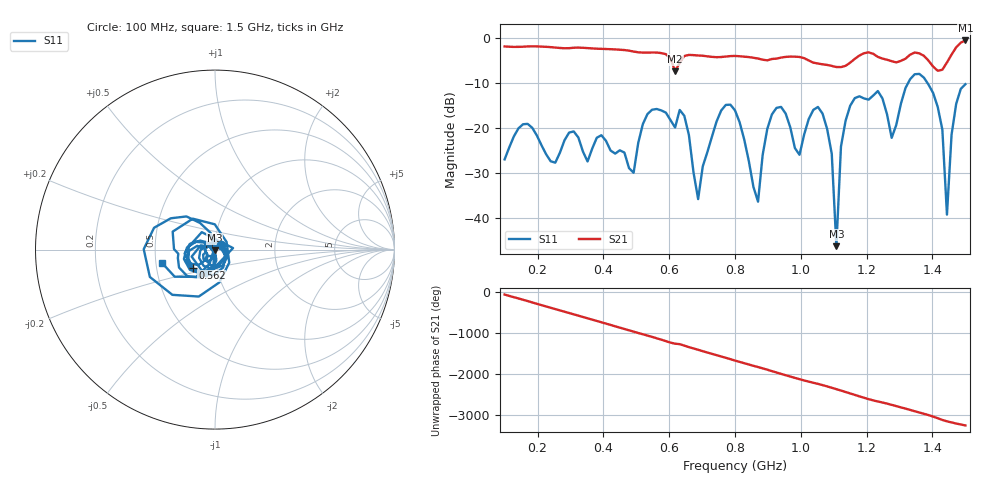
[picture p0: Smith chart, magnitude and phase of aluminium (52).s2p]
! NanoVNA-App
! Date: 2025-09-25 14:55:41
! Start: 100MHz Stop: 1,5GHz Points: 101
! S-Parameter data: F S11 S21 S12 S22
# Hz S RI R 50
!  Frequency  S11_Real  S11_Imag  S21_Real  S21_Imag  S12_Real  S12_Imag  S22_Real  S22_Imag
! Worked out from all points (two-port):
!   101 points, 100 MHz to 1.5 GHz, reference 50 ohm
!   highest |S21| = -0.60 dB at 1.5 GHz (marker M1); lowest = -7.4 dB at 618 MHz (marker M2)
!   |S21| within 3 dB of the highest: start of sweep to 587.5 MHz; 1.187 GHz to 1.221 GHz (33.35 MHz wide, 2.77 % of centre) (the widest 2 of 4)
!   lowest |S11| = -46.3 dB at 1.108 GHz (marker M3), VSWR 1.01, Z = 49.9 - j0.475 ohm
!   |S11| at or under -10 dB: start of sweep to 1.326 GHz; 1.384 GHz to end of sweep
!   S12 and S22 are empty: the file has one direction only
!   S11 on the Smith chart (normalised r, x): 100 MHz: 1.07, +0.06; 562 MHz: 0.76, -0.16; 1.5 GHz: 0.54, -0.09
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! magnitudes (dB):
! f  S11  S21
! 100 MHz  -27.0  -1.9
! 338 MHz  -25.3  -2.2
! 492 MHz  -30.0  -3.1
! 562 MHz  -15.8  -3.3
! 576 MHz  -16.1  -3.4
! 618 MHz  -19.9  -7.4
! 688 MHz  -35.8  -3.9
! 800 MHz  -16.1  -4.0
! 870 MHz  -36.4  -4.6
! 912 MHz  -17.0  -4.7
! 996 MHz  -26.0  -4.3
! 1.038 GHz  -16.0  -5.5
! 1.094 GHz  -25.8  -6.3
! 1.108 GHz  -46.3  -6.5
! 1.122 GHz  -24.2  -6.5
! 1.15 GHz  -15.1  -5.5
! 1.276 GHz  -22.2  -5.2
! 1.374 GHz  -8.9  -4.0
! 1.43 GHz  -20.4  -7.1
! 1.444 GHz  -39.3  -5.5
! 1.458 GHz  -21.5  -3.7
! 1.5 GHz  -10.3  -0.6
